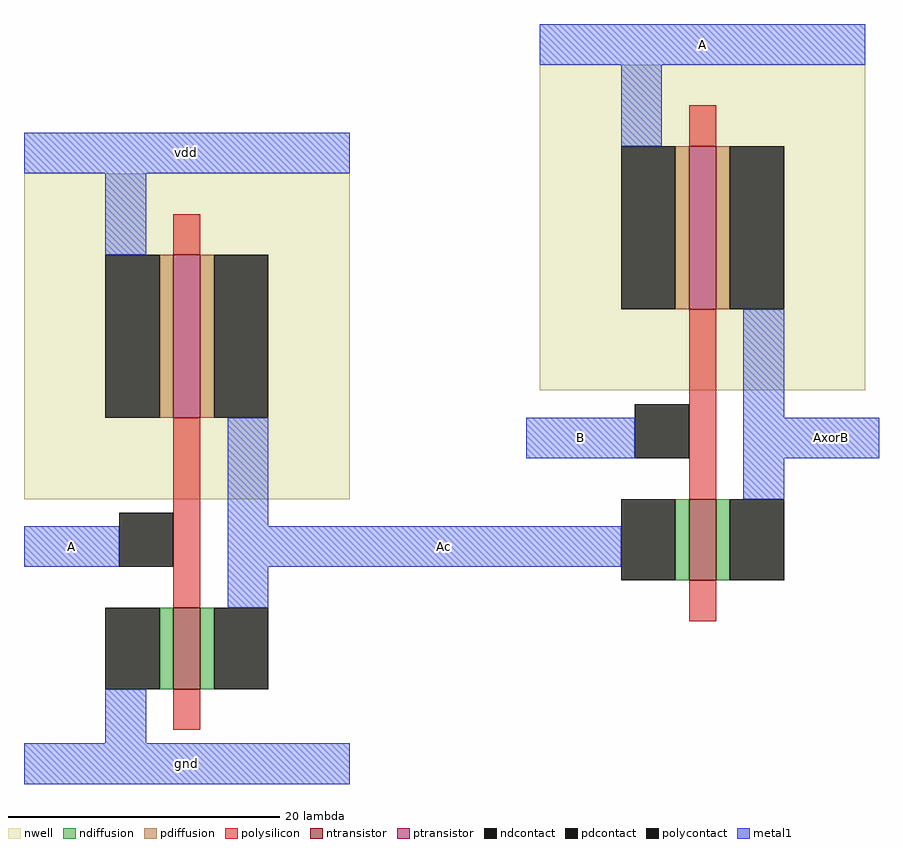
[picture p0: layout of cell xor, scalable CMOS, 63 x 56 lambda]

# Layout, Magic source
magic
tech scmos
<< nwell >>
rect -150 12 -126 36
rect -112 20 -88 44
<< ntransistor >>
rect -101 6 -99 12
rect -139 -2 -137 4
<< ptransistor >>
rect -139 18 -137 30
rect -101 26 -99 38
<< ndiffusion >>
rect -102 6 -101 12
rect -99 6 -98 12
rect -140 -2 -139 4
rect -137 -2 -136 4
<< pdiffusion >>
rect -140 18 -139 30
rect -137 18 -136 30
rect -102 26 -101 38
rect -99 26 -98 38
<< ndcontact >>
rect -106 6 -102 12
rect -98 6 -94 12
rect -144 -2 -140 4
rect -136 -2 -132 4
<< pdcontact >>
rect -144 18 -140 30
rect -136 18 -132 30
rect -106 26 -102 38
rect -98 26 -94 38
<< polysilicon >>
rect -101 38 -99 41
rect -139 30 -137 33
rect -139 4 -137 18
rect -101 12 -99 26
rect -101 3 -99 6
rect -139 -5 -137 -2
<< polycontact >>
rect -143 7 -139 11
rect -105 15 -101 19
<< metal1 >>
rect -112 44 -88 47
rect -150 36 -126 39
rect -106 38 -103 44
rect -144 30 -141 36
rect -150 7 -143 10
rect -135 10 -132 18
rect -113 15 -105 18
rect -97 18 -94 26
rect -97 15 -87 18
rect -97 12 -94 15
rect -135 7 -106 10
rect -135 4 -132 7
rect -144 -6 -141 -2
rect -150 -9 -126 -6
<< labels >>
rlabel metal1 -132 7 -106 10 1 Ac
rlabel metal1 -150 7 -143 10 3 A
rlabel metal1 -113 15 -105 18 1 B
rlabel metal1 -94 15 -87 18 7 AxorB
rlabel metal1 -112 44 -88 47 5 A
rlabel metal1 -150 -9 -126 -6 1 gnd
rlabel metal1 -150 36 -126 39 1 vdd
<< end >>
